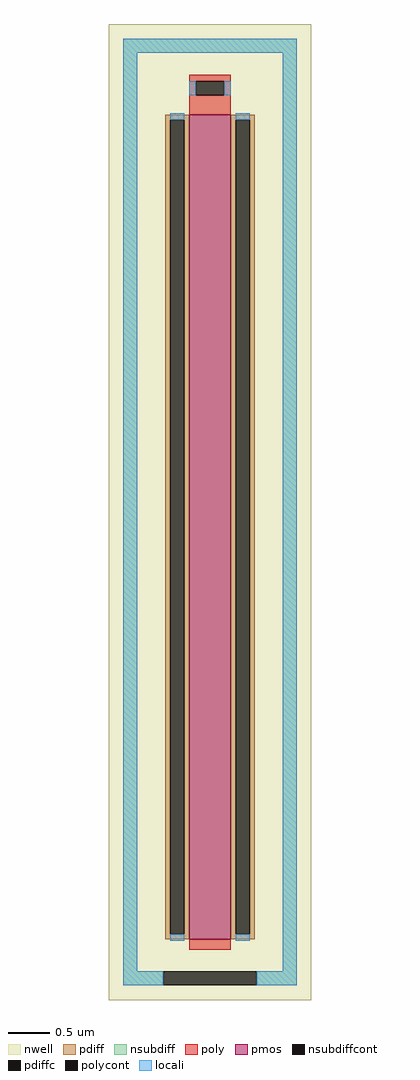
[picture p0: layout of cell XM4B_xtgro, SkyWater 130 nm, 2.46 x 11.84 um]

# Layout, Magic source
magic
tech sky130A
magscale 1 2
<< nwell >>
rect -246 -1184 246 1184
<< pmos >>
rect -50 -1036 50 964
<< pdiff >>
rect -108 952 -50 964
rect -108 -1024 -96 952
rect -62 -1024 -50 952
rect -108 -1036 -50 -1024
rect 50 952 108 964
rect 50 -1024 62 952
rect 96 -1024 108 952
rect 50 -1036 108 -1024
<< pdiffc >>
rect -96 -1024 -62 952
rect 62 -1024 96 952
<< nsubdiff >>
rect -210 1114 210 1148
rect -210 -1114 -176 1114
rect 176 -1114 210 1114
rect -210 -1148 -114 -1114
rect 114 -1148 210 -1114
<< nsubdiffcont >>
rect -114 -1148 114 -1114
<< poly >>
rect -50 1045 50 1061
rect -50 1011 -34 1045
rect 34 1011 50 1045
rect -50 964 50 1011
rect -50 -1062 50 -1036
<< polycont >>
rect -34 1011 34 1045
<< locali >>
rect -210 1114 210 1148
rect -210 -1114 -176 1114
rect -50 1011 -34 1045
rect 34 1011 50 1045
rect -96 952 -62 968
rect -96 -1040 -62 -1024
rect 62 952 96 968
rect 62 -1040 96 -1024
rect 176 -1114 210 1114
rect -210 -1148 -114 -1114
rect 114 -1148 210 -1114
<< properties >>
string FIXED_BBOX -193 -1131 193 1131
<< end >>
